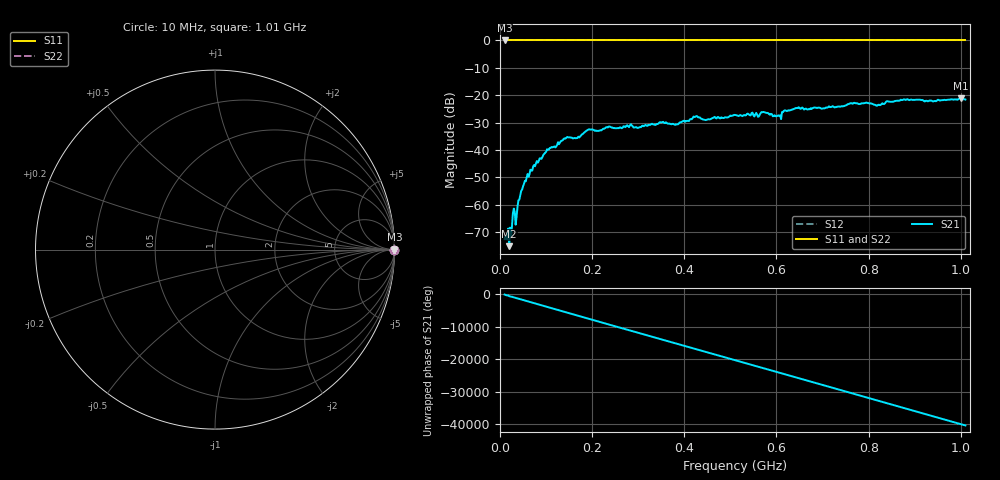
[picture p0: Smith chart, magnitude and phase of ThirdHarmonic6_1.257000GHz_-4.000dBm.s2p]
! 8/16/2025 1:28:56 PM
! C:\ANRITSUVNA\TEMP\TEMP.S2P
! CHANNEL.1
! TR.MEASUREMENT
! RAW.DATA
! RF.CORRECTION.OFF
! AVERAGING.OFF
! IF.BANDWIDTH: 5KHZ
! SWEEPTYPE:  FREQ.SWEEP(Linear)
! Reference Plane Port Info
! PORT:  PORT1  PORT2
! DISTANCE:  0  m  0  m
! TIME:  0  s  0  s
! PHASE.OFFSET:  0  deg.  0  deg.
! LOSS:  0  dB  0  dB
! REF.LOSS:  0  dB  0  dB
! REF.FREQ:  0  Hz  0  Hz
! Power Info
! POWER:  -20  dBm  -20  dBm
! EFF.POWER:  -20  dBm  -20  dBm
! SOURCE.ATTEN:  0  dB  0  dB
! TEST.ATTEN:  0  dB  0  dB
# GHZ S RI R 50.0
! FREQ.GHZ  S11RE  S11IM  S21RE  S21IM  S12RE  S12IM  S22RE  S22IM
!; PortSelection: Port_12
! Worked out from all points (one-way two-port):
!   501 points, 10 MHz to 1.01 GHz, reference 50 ohm
!   highest |S21| = -21.16 dB at 1 GHz (marker M1); lowest = -75.1 dB at 20 MHz (marker M2)
!   lowest |S11| = 0.0 dB at 10 MHz (marker M3)
!   |S11| at or under -10 dB: nowhere
!   |S22| runs from 0.0 to 0.0 dB; largest |S21 - S12| = 1.1
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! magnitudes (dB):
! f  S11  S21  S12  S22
! 10 MHz  0.0  -72.5  0.0  0.0
! 20 MHz  0.0  -75.1  0.0  0.0
! 28 MHz  0.0  -63.0  0.0  0.0
! 38 MHz  0.0  -60.7  0.0  0.0
! 42 MHz  0.0  -58.1  0.0  0.0
! 50 MHz  0.0  -53.2  0.0  0.0
! 76 MHz  0.0  -45.9  0.0  0.0
! 106 MHz  0.0  -39.8  0.0  0.0
! 142 MHz  0.0  -35.8  0.0  0.0
! 178 MHz  0.0  -34.3  0.0  0.0
! 196 MHz  0.0  -32.5  0.0  0.0
! 344 MHz  0.0  -30.3  0.0  0.0
! 382 MHz  0.0  -30.7  0.0  0.0
! 424 MHz  0.0  -27.9  0.0  0.0
! 510 MHz  0.0  -27.2  0.0  0.0
! 572 MHz  0.0  -26.1  0.0  0.0
! 606 MHz  0.0  -27.6  0.0  0.0
! 644 MHz  0.0  -24.7  0.0  0.0
! 678 MHz  0.0  -24.7  0.0  0.0
! 844 MHz  0.0  -22.4  0.0  0.0
! 1 GHz  0.0  -21.2  0.0  0.0
! 1.01 GHz  0.0  -21.6  0.0  0.0
